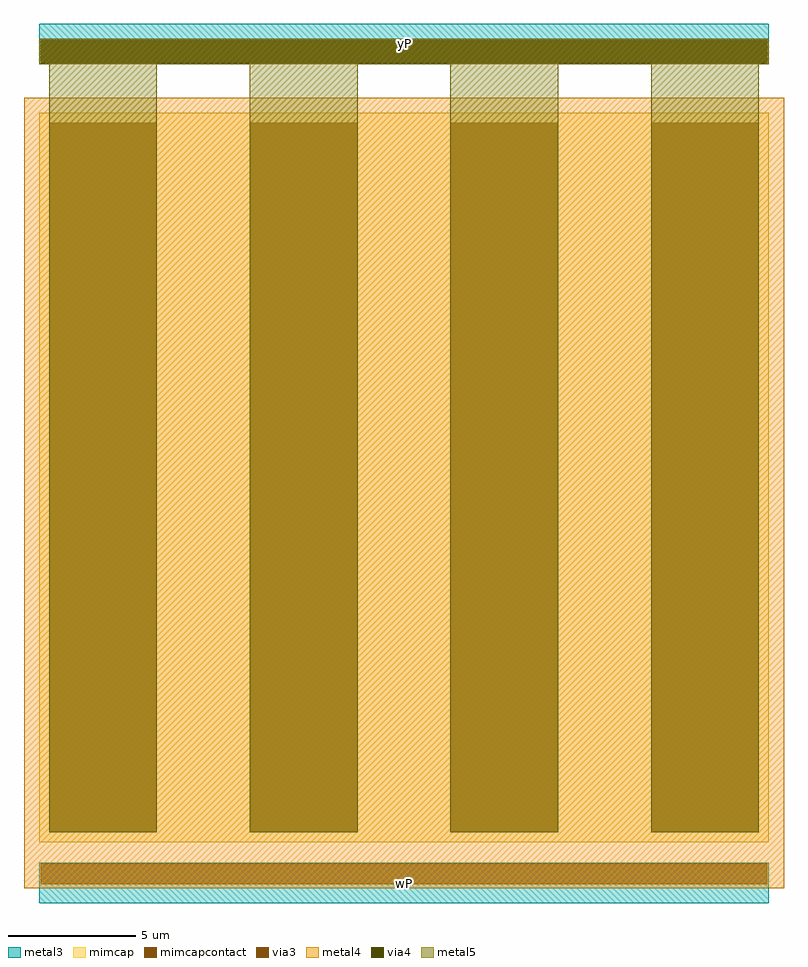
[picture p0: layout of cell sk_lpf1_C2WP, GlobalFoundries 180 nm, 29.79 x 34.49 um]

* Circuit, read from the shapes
.subckt sk_lpf1_C2WP yP wP
XC1 yP wP cap_mim_2f0fF c_width=28.59u c_length=28.59u
.ends

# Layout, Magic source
magic
tech gf180mcuD
magscale 1 10
<< metal3 >>
rect 0 -340 5718 -160
rect 0 6098 5718 6298
rect 0 6098 5718 6418
rect 0 6098 5718 6418
rect 0 -480 5718 -160
rect 0 -480 5718 -160
<< metal4 >>
rect -120 -360 5838 5838
rect 0 -340 5718 -160
rect 0 6098 5718 6298
rect 0 6098 5718 6298
<< mimcap >>
rect 0 0 5718 5718
<< metal5 >>
rect 78 78 922 6198
rect 1651 78 2495 6198
rect 3223 78 4067 6198
rect 4796 78 5640 6198
rect 0 6098 5718 6298
rect 0 6098 5718 6298
<< via3 >>
rect 10 -330 5708 -170
rect 10 6108 5708 6288
<< via4 >>
rect 10 6108 5708 6288
<< mimcapcontact >>
rect 78 78 922 5640
rect 1651 78 2495 5640
rect 3223 78 4067 5640
rect 4796 78 5640 5640
<< labels >>
flabel metal3 s 0 6098 5718 6418 0 FreeSans 80 0 0 0 yP
port 1 nsew signal bidirectional
flabel metal3 s 0 -480 5718 -160 0 FreeSans 80 0 0 0 wP
port 2 nsew signal bidirectional
<< end >>
